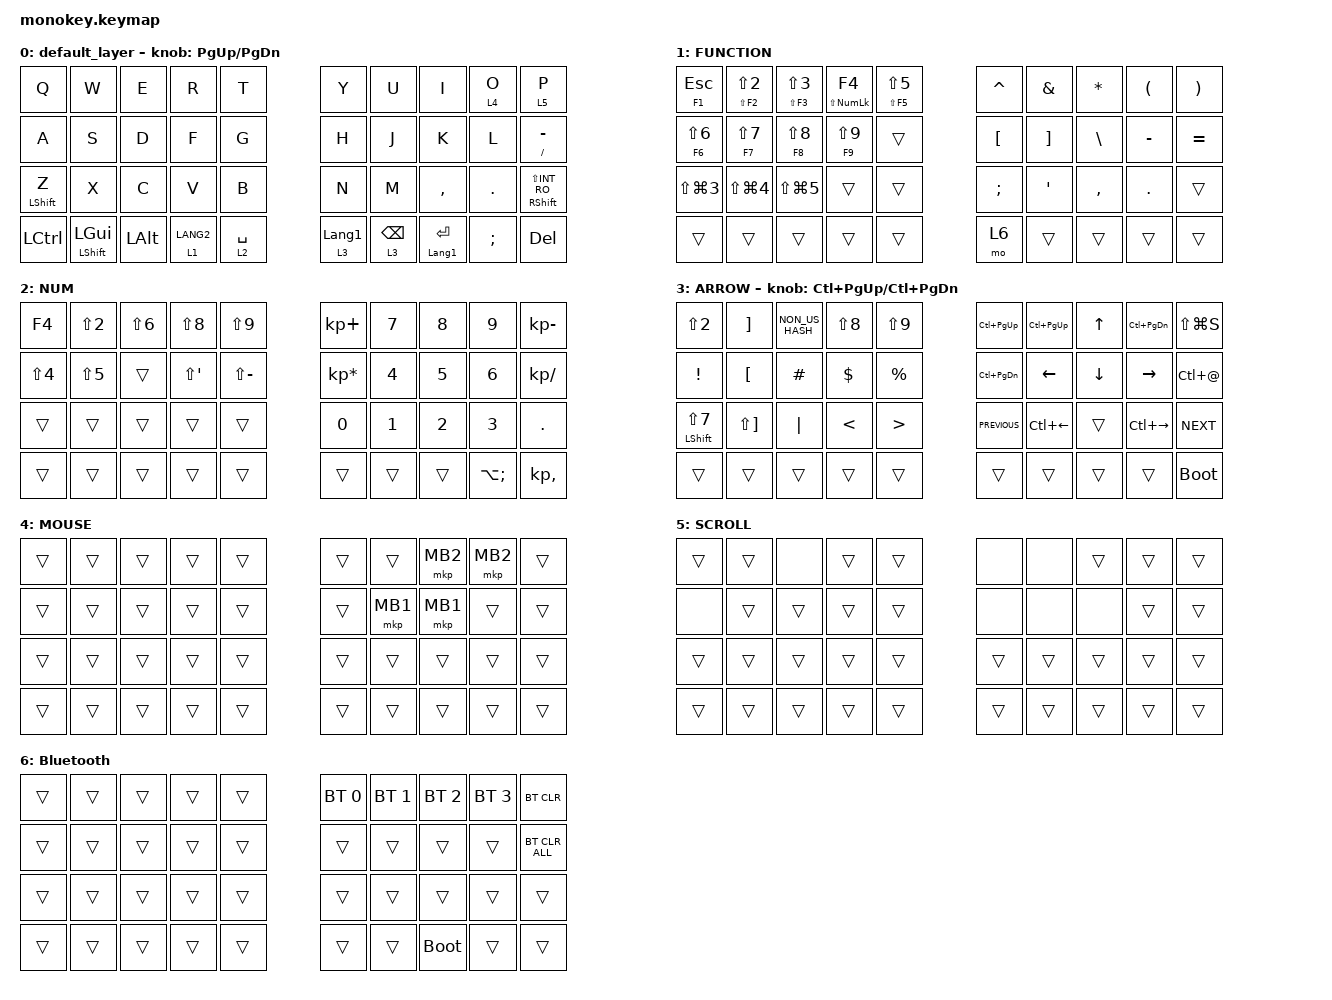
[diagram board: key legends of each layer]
#include <behaviors.dtsi>
#include <dt-bindings/zmk/bt.h>
#include <dt-bindings/zmk/keys.h>
#include <dt-bindings/zmk/pointing.h>

#define MOUSE 4
#define SCROLL 5
#define NUM 6

&mt {
    flavor = "balanced";
    quick-tap-ms = <300>;
};

&lt { quick-tap-ms = <300>; };

/ {
    combos {
        compatible = "zmk,combos";

        scroll {
            bindings = <&mo 5>;
            key-positions = <27 28>;
        };

        tab {
            bindings = <&kp TAB>;
            key-positions = <10 11>;
        };

        esc {
            bindings = <&kp ESCAPE>;
            key-positions = <0 1>;
        };

        del {
            bindings = <&kp DELETE>;
            key-positions = <8 9>;
        };
    };

    behaviors {
        right_click: right_click_behavior {
            compatible = "zmk,behavior-mouse-key";
            label = "RIGHT_CLICK";
            #binding-cells = <0>;

            // 右クリックは通常 MB2 に対応（ZMKの標準定義）

            bindings = <&mkp MB2>;
        };
    };

    keymap {
        compatible = "zmk,keymap";

        default_layer {
            bindings = <
&kp Q             &kp W                    &kp E         &kp R        &kp T                            &kp Y            &kp U                 &kp I      &lt 4 O        &lt 5 P
&kp A             &kp S                    &kp D         &kp F        &kp G                            &kp H            &kp J                 &kp K      &kp L          &mt SLASH MINUS
&mt LEFT_SHIFT Z  &kp X                    &kp C         &kp V        &kp B                            &kp N            &kp M                 &kp COMMA  &kp PERIOD     &mt RIGHT_SHIFT LS(INT_RO)
&kp LCTRL         &mt LEFT_SHIFT LEFT_GUI  &kp LEFT_ALT  &lt 1 LANG2  &lt 2 SPACE  &lt 3 LANGUAGE_1    &lt 3 BACKSPACE  &mt LANGUAGE_1 ENTER             &kp SEMICOLON  &kp DEL
            >;

            sensor-bindings = <&inc_dec_kp PG_UP PAGE_DOWN>;
        };

        FUNCTION {
            bindings = <
&mt F1 ESC            &mt LS(F2) LS(NUMBER_2)  &mt LS(F3) LS(NUMBER_3)  &mt LS(KP_NUMLOCK) F4  &mt LS(F5) LS(NUMBER_5)           &kp CARET         &kp AMPERSAND      &kp ASTERISK   &kp LEFT_PARENTHESIS  &kp RIGHT_PARENTHESIS
&mt F6 LS(NUMBER_6)   &mt F7 LS(NUMBER_7)      &mt F8 LS(NUMBER_8)      &mt F9 LS(NUMBER_9)    &trans                            &kp LEFT_BRACKET  &kp RIGHT_BRACKET  &kp BACKSLASH  &kp MINUS             &kp EQUAL
&kp LS(LG(NUMBER_3))  &kp LS(LG(NUMBER_4))     &kp LS(LG(N5))           &trans                 &trans                            &kp SEMICOLON     &kp SQT            &kp COMMA      &kp PERIOD            &trans
&trans                &trans                   &trans                   &trans                 &trans                   &mo 6    &trans            &trans                            &trans                &trans
            >;
        };

        NUM {
            bindings = <
&kp F4            &kp LS(N2)  &kp LS(N6)  &kp LS(N8)          &kp LS(N9)               &kp KP_PLUS      &kp NUMBER_7  &kp NUMBER_8  &kp NUMBER_9  &kp KP_MINUS
&kp LS(NUMBER_4)  &kp LS(N5)  &trans      &kp LS(APOSTROPHE)  &kp LS(MINUS)            &kp KP_MULTIPLY  &kp NUMBER_4  &kp NUMBER_5  &kp NUMBER_6  &kp KP_SLASH
&trans            &trans      &trans      &trans              &trans                   &kp NUMBER_0     &kp NUMBER_1  &kp NUMBER_2  &kp NUMBER_3  &kp DOT
&trans            &trans      &trans      &trans              &trans         &trans    &trans           &trans                      &kp LA(SEMI)  &kp KP_COMMA
            >;
        };

        ARROW {
            bindings = <
&kp LS(N2)                   &kp RBKT      &kp NON_US_HASH  &kp LS(N8)     &kp LS(N9)                  &kp LC(PAGE_UP)    &kp LC(PAGE_UP)     &kp UP_ARROW    &kp LC(PAGE_DOWN)    &kp LS(LG(S))
&kp EXCL                     &kp LBKT      &kp POUND        &kp DOLLAR     &kp PRCNT                   &kp LC(PAGE_DOWN)  &kp LEFT_ARROW      &kp DOWN_ARROW  &kp RIGHT_ARROW      &kp LC(AT)
&mt LEFT_SHIFT LS(NUMBER_7)  &kp LS(RBKT)  &kp PIPE         &kp LESS_THAN  &kp GREATER_THAN            &kp C_PREVIOUS     &kp LC(LEFT_ARROW)  &trans          &kp LC(RIGHT_ARROW)  &kp C_NEXT
&trans                       &trans        &trans           &trans         &trans            &trans    &trans             &trans                              &trans               &bootloader
            >;

            sensor-bindings = <&inc_dec_kp LC(PAGE_UP) LC(PAGE_DOWN)>;
        };

        MOUSE {
            bindings = <
&trans  &trans  &trans  &trans  &trans            &trans  &trans    &mkp MB2  &mkp MB2  &trans
&trans  &trans  &trans  &trans  &trans            &trans  &mkp MB1  &mkp MB1  &trans    &trans
&trans  &trans  &trans  &trans  &trans            &trans  &trans    &trans    &trans    &trans
&trans  &trans  &trans  &trans  &trans  &trans    &trans  &trans              &trans    &trans
            >;
        };

        SCROLL {
            bindings = <
&trans  &trans  &none   &trans  &trans            &none   &none   &trans  &trans  &trans
&none   &trans  &trans  &trans  &trans            &none   &none   &none   &trans  &trans
&trans  &trans  &trans  &trans  &trans            &trans  &trans  &trans  &trans  &trans
&trans  &trans  &trans  &trans  &trans  &trans    &trans  &trans          &trans  &trans
            >;
        };

        Bluetooth {
            bindings = <
&trans  &trans  &trans  &trans  &trans            &bt BT_SEL 0  &bt BT_SEL 1  &bt BT_SEL 2  &bt BT_SEL 3  &bt BT_CLR
&trans  &trans  &trans  &trans  &trans            &trans        &trans        &trans        &trans        &bt BT_CLR_ALL
&trans  &trans  &trans  &trans  &trans            &trans        &trans        &trans        &trans        &trans
&trans  &trans  &trans  &trans  &trans  &trans    &trans        &bootloader                 &trans        &trans
            >;
        };
    };
};
